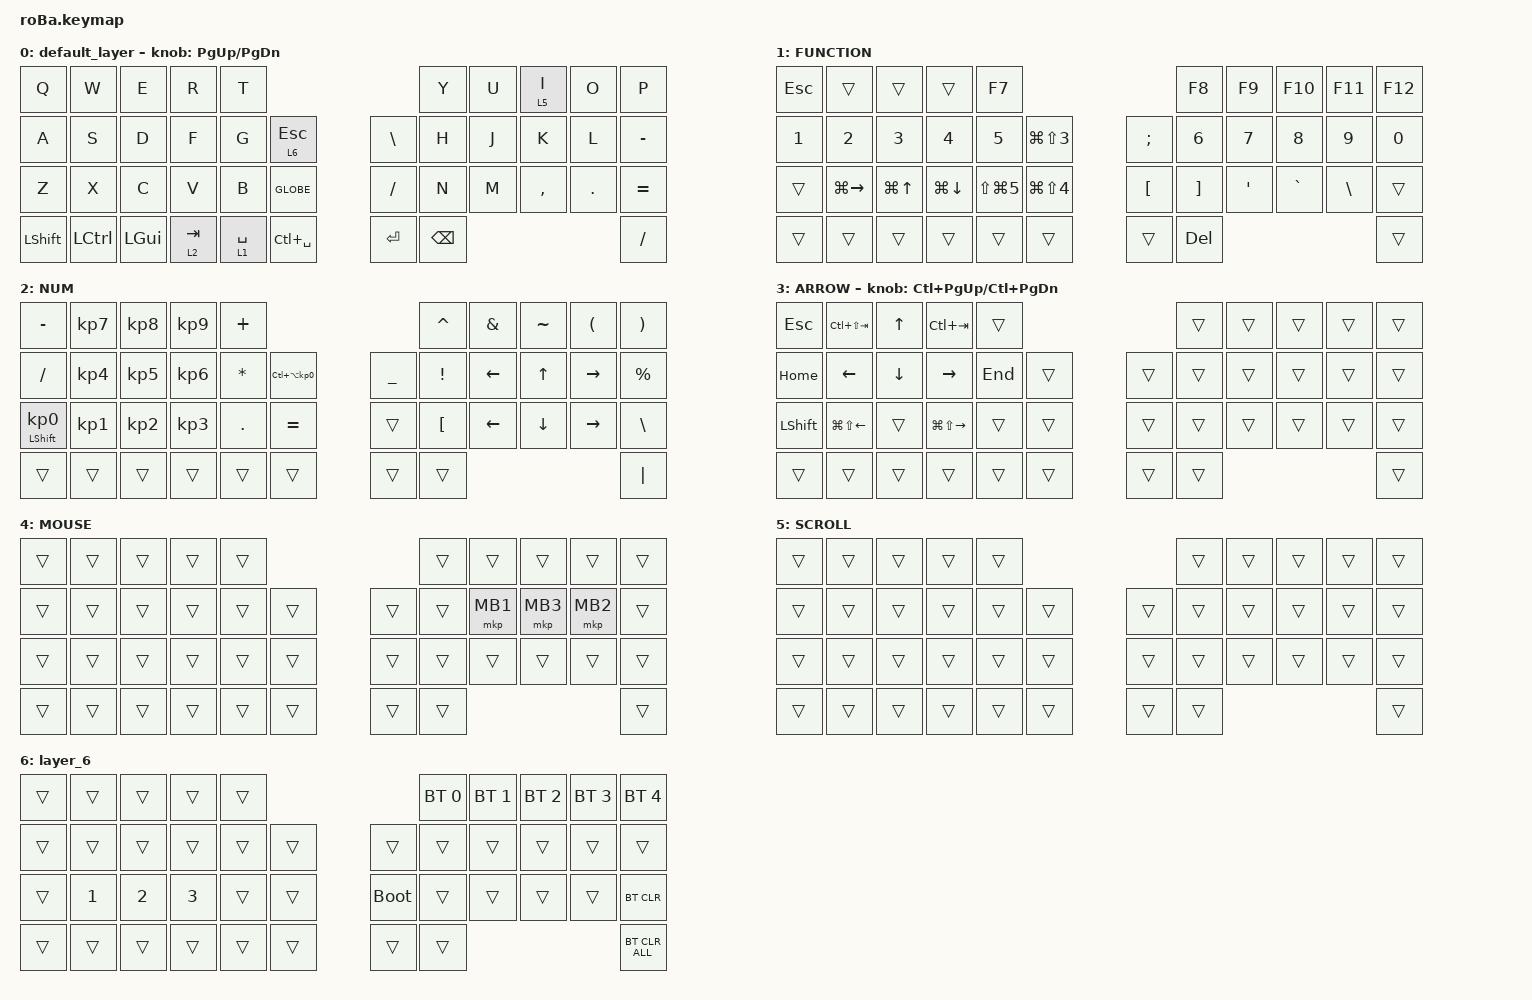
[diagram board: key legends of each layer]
#include <behaviors.dtsi>
#include <dt-bindings/zmk/bt.h>
#include <dt-bindings/zmk/keys.h>
#include <dt-bindings/zmk/pointing.h>

&mt {
    flavor = "balanced";
    quick-tap-ms = <0>;
};

&trackball {
    automouse-layer = <4>;
    scroll-layers = <5>;

    // arrows {
    //     layers = <3>;
    //     bindings =
    //         <&kp RIGHT_ARROW>,
    //         <&kp LEFT_ARROW>,
    //         <&kp UP_ARROW>,
    //         <&kp DOWN_ARROW>;
    //     tick = <10>;
    //     wait-ms = <5>;
    //     tap-ms = <5>;
    // };
};

/ {
    combos {
        compatible = "zmk,combos";

        tab {
            bindings = <&kp TAB>;
            key-positions = <11 12>;
        };

        shift_tab {
            bindings = <&kp LS(TAB)>;
            key-positions = <12 13>;
        };

        muhennkann {
            bindings = <&to_layer_0 INT_MUHENKAN>;
            key-positions = <11 10>;
        };

        double_quotation {
            bindings = <&kp DOUBLE_QUOTES>;
            key-positions = <20 21>;
        };

        eq {
            bindings = <&kp EQUAL>;
            key-positions = <24 25>;
        };
    };

    macros {
        to_layer_0: to_layer_0 {
            compatible = "zmk,behavior-macro-one-param";
            #binding-cells = <1>;
            bindings = <&to 0 &macro_param_1to1 &kp MACRO_PLACEHOLDER>;
            label = "TO_LAYER_0";
        };

        claude: claude {
            compatible = "zmk,behavior-macro";
            #binding-cells = <0>;
            bindings = <&kp C &kp L &kp A &kp U &kp D &kp E &kp ENTER>;
            label = "CLAUDE";
        };
    };

    behaviors {
        lt_to_layer_0: lt_to_layer_0 {
            compatible = "zmk,behavior-hold-tap";
            label = "LAYER_TAP_TO_0";
            bindings = <&mo>, <&to_layer_0>;

            #binding-cells = <2>;
            tapping-term-ms = <200>;
        };
    };

    keymap {
        compatible = "zmk,keymap";

        default_layer {
            bindings = <
&kp Q           &kp W      &kp E         &kp R                 &kp T                                                    &kp Y          &kp U  &lt 5 I    &kp O    &kp P
&kp A           &kp S      &kp D         &kp F                 &kp G        &lt_to_layer_0 6 ESCAPE      &kp BACKSLASH  &kp H          &kp J  &kp K      &kp L    &kp MINUS
&kp Z           &kp X      &kp C         &kp V                 &kp B        &kp GLOBE                    &kp SLASH      &kp N          &kp M  &kp COMMA  &kp DOT  &kp EQUAL
&kp LEFT_SHIFT  &kp LCTRL  &kp LEFT_GUI  &lt_to_layer_0 2 TAB  &lt 1 SPACE  &kp LC(SPACE)                &kp ENTER      &kp BACKSPACE                             &kp SLASH
            >;

            sensor-bindings = <&inc_dec_kp PG_UP PAGE_DOWN>;
        };

        FUNCTION {
            bindings = <
&kp ESCAPE    &trans               &trans            &trans              &kp F7                                                      &kp F8             &kp F9            &kp F10    &kp F11        &kp F12
&kp NUMBER_1  &kp NUMBER_2         &kp NUMBER_3      &kp NUMBER_4        &kp N5          &kp LG(LS(NUMBER_3))      &kp SEMICOLON     &kp NUMBER_6       &kp N7            &kp N8     &kp N9         &kp N0
&trans        &kp LG(RIGHT_ARROW)  &kp LG(UP_ARROW)  &kp LG(DOWN_ARROW)  &kp LS(LG(N5))  &kp LG(LS(NUMBER_4))      &kp LEFT_BRACKET  &kp RIGHT_BRACKET  &kp SINGLE_QUOTE  &kp GRAVE  &kp BACKSLASH  &trans
&trans        &trans               &trans            &trans              &trans          &trans                    &trans            &kp DELETE                                                     &trans
            >;
        };

        NUM {
            bindings = <
&kp MINUS                   &kp KP_NUMBER_7  &kp KP_NUMBER_8  &kp KP_NUMBER_9  &kp PLUS                                                   &kp CARET         &kp AMPERSAND   &kp TILDE       &kp LEFT_PARENTHESIS  &kp RIGHT_PARENTHESIS
&kp SLASH                   &kp KP_NUMBER_4  &kp KP_NUMBER_5  &kp KP_NUMBER_6  &kp ASTERISK  &kp LC(LA(KP_NUMBER_0))      &kp UNDERSCORE  &kp EXCLAMATION   &kp LEFT_ARROW  &kp UP_ARROW    &kp RIGHT_ARROW       &kp PERCENT
&mt LEFT_SHIFT KP_NUMBER_0  &kp KP_NUMBER_1  &kp KP_NUMBER_2  &kp KP_NUMBER_3  &kp PERIOD    &kp EQUAL                    &trans          &kp LEFT_BRACKET  &kp LEFT_ARROW  &kp DOWN_ARROW  &kp RIGHT_ARROW       &kp BACKSLASH
&trans                      &trans           &trans           &trans           &trans        &trans                       &trans          &trans                                                                  &kp PIPE
            >;
        };

        ARROW {
            bindings = <
&kp ESCAPE      &kp LC(LS(TAB))         &kp UP_ARROW    &kp LC(TAB)              &trans                       &trans  &trans  &trans  &trans  &trans
&kp HOME        &kp LEFT_ARROW          &kp DOWN_ARROW  &kp RIGHT_ARROW          &kp END  &trans      &trans  &trans  &trans  &trans  &trans  &trans
&kp LEFT_SHIFT  &kp LG(LS(LEFT_ARROW))  &trans          &kp LG(LS(RIGHT_ARROW))  &trans   &trans      &trans  &trans  &trans  &trans  &trans  &trans
&trans          &trans                  &trans          &trans                   &trans   &trans      &trans  &trans                          &trans
            >;

            sensor-bindings = <&inc_dec_kp LC(PAGE_UP) LC(PAGE_DOWN)>;
        };

        MOUSE {
            bindings = <
&trans  &trans  &trans  &trans  &trans                      &trans  &trans    &trans    &trans    &trans
&trans  &trans  &trans  &trans  &trans  &trans      &trans  &trans  &mkp MB1  &mkp MB3  &mkp MB2  &trans
&trans  &trans  &trans  &trans  &trans  &trans      &trans  &trans  &trans    &trans    &trans    &trans
&trans  &trans  &trans  &trans  &trans  &trans      &trans  &trans                                &trans
            >;
        };

        SCROLL {
            bindings = <
&trans  &trans  &trans  &trans  &trans                      &trans  &trans  &trans  &trans  &trans
&trans  &trans  &trans  &trans  &trans  &trans      &trans  &trans  &trans  &trans  &trans  &trans
&trans  &trans  &trans  &trans  &trans  &trans      &trans  &trans  &trans  &trans  &trans  &trans
&trans  &trans  &trans  &trans  &trans  &trans      &trans  &trans                          &trans
            >;
        };

        layer_6 {
            bindings = <
&trans  &trans        &trans        &trans        &trans                           &bt BT_SEL 0  &bt BT_SEL 1  &bt BT_SEL 2  &bt BT_SEL 3  &bt BT_SEL 4
&trans  &trans        &trans        &trans        &trans  &trans      &trans       &trans        &trans        &trans        &trans        &trans
&trans  &kp NUMBER_1  &kp NUMBER_2  &kp NUMBER_3  &trans  &trans      &bootloader  &trans        &trans        &trans        &trans        &bt BT_CLR
&trans  &trans        &trans        &trans        &trans  &trans      &trans       &trans                                                  &bt BT_CLR_ALL
            >;
        };
    };
};
